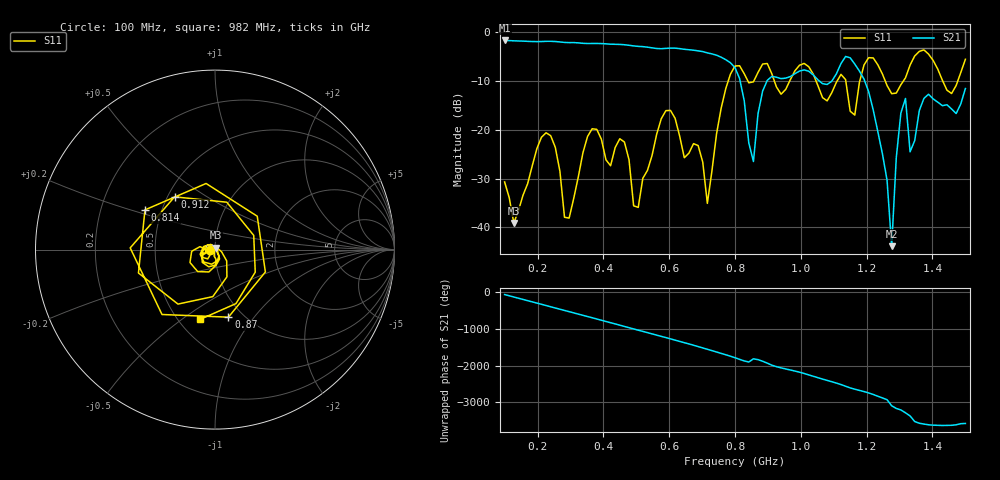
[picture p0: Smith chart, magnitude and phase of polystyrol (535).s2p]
! NanoVNA-App
! Date: 2025-09-25 15:34:03
! Start: 100MHz Stop: 1,5GHz Points: 101
! S-Parameter data: F S11 S21 S12 S22
# Hz S RI R 50
!  Frequency  S11_Real  S11_Imag  S21_Real  S21_Imag  S12_Real  S12_Imag  S22_Real  S22_Imag
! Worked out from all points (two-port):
!   101 points, 100 MHz to 1.5 GHz, reference 50 ohm
!   highest |S21| = -1.80 dB at 100 MHz (marker M1); lowest = -43.8 dB at 1.276 GHz (marker M2)
!   |S21| within 3 dB of the highest: start of sweep to 743.1 MHz
!   lowest |S11| = -39.1 dB at 128 MHz (marker M3), VSWR 1.02, Z = 50.3 + j1.06 ohm
!   |S11| at or under -10 dB: start of sweep to 779.8 MHz; 1.046 GHz to 1.111 GHz (65.26 MHz wide, 6.05 % of centre); 1.256 GHz to 1.312 GHz (56.36 MHz wide, 4.39 % of centre)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
!   S12 and S22 are empty: the file has one direction only
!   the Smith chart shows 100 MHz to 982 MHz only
!   S11 on the Smith chart (normalised r, x): 100 MHz: 0.94, -0.01; 814 MHz: 0.40, +0.22; 870 MHz: 0.85, -0.75; 912 MHz: 0.54, +0.37; 982 MHz: 0.63, -0.59
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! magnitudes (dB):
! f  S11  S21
! 100 MHz  -30.7  -1.8
! 128 MHz  -39.1  -1.9
! 212 MHz  -21.6  -2.0
! 282 MHz  -37.9  -2.2
! 338 MHz  -24.7  -2.4
! 464 MHz  -22.5  -2.7
! 506 MHz  -35.9  -3.0
! 576 MHz  -17.8  -3.5
! 716 MHz  -35.1  -4.3
! 800 MHz  -7.0  -7.4
! 814 MHz  -7.0  -9.6
! 856 MHz  -10.3  -26.5
! 870 MHz  -8.3  -16.8
! 912 MHz  -8.6  -9.1
! 982 MHz  -8.0  -8.6
! 1.038 GHz  -8.7  -8.9
! 1.164 GHz  -17.0  -6.6
! 1.192 GHz  -6.8  -9.7
! 1.276 GHz  -12.7  -43.8
! 1.318 GHz  -9.4  -13.7
! 1.332 GHz  -6.8  -24.5
! 1.5 GHz  -5.6  -11.6
